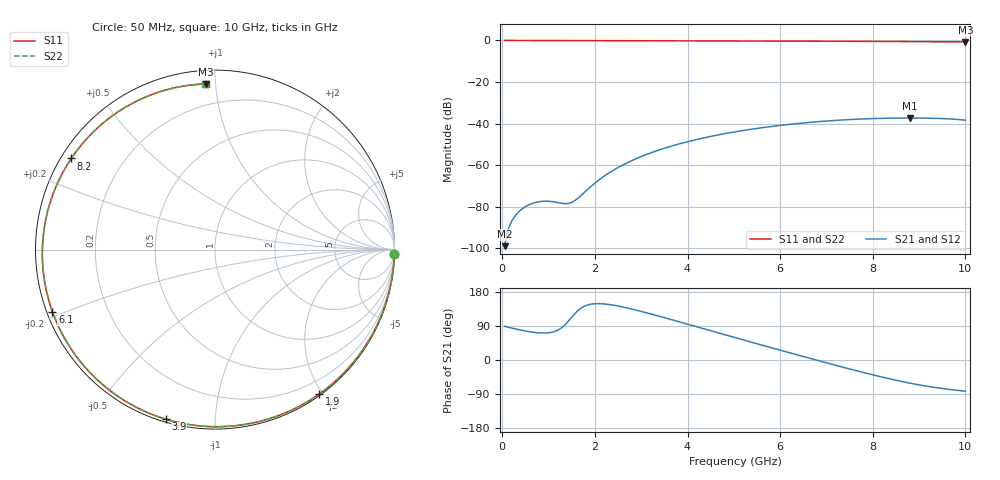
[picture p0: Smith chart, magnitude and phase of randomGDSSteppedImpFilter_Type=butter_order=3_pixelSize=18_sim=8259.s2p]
! freq	dB(S11)	phase(S11)	dB(S12)	phase(S12)
!  dB(S21)	phase(S21)	dB(S22)	phase(S22)
!S-par simulation data
#  GHz  S  DB  R 50
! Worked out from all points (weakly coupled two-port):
!   200 points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, 50 MHz to 10 GHz, reference 50 ohm
!   highest |S21| = -37.31 dB at 8.8 GHz (marker M1); lowest = -99.0 dB at 50 MHz (marker M2)
!   lowest |S11| = -0.7 dB at 10 GHz (marker M3), VSWR 25.45, Z = 3.72 + j47.2 ohm
!   |S11| at or under -10 dB: nowhere
!   |S22| runs from -0.7 to 0.0 dB; largest |S21 - S12| = 0
!   S11 on the Smith chart (normalised r, x): 50 MHz: 0, -77; 1.9 GHz: 0.02, -1.95; 3.9 GHz: 0.01, -0.75; 6.1 GHz: 0.02, -0.18; 8.2 GHz: 0.03, +0.29; 10 GHz: 0.07, +0.94
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0.05  -0.00 -1.5  -98.97 88.9  -98.97 88.9  -0.00 -1.5
0.5  -0.02 -14.6  -79.95 76.5  -79.95 76.5  -0.02 -14.6
0.7  -0.03 -20.4  -78.05 72.6  -78.05 72.6  -0.03 -20.4
0.9  -0.03 -26.2  -77.35 71.1  -77.35 71.1  -0.03 -26.1
1.45  -0.05 -41.8  -78.30 105.9  -78.30 105.9  -0.05 -41.7
1.6  -0.06 -46.0  -76.51 126.7  -76.51 126.7  -0.06 -45.9
1.75  -0.06 -50.1  -73.57 140.5  -73.57 140.5  -0.06 -50.1
1.9  -0.07 -54.3  -70.51 146.9  -70.51 146.9  -0.07 -54.2
2.2  -0.08 -62.4  -65.26 148.0  -65.26 148.0  -0.08 -62.4
2.55  -0.09 -71.8  -60.52 141.2  -60.52 141.2  -0.09 -71.7
3.4  -0.12 -93.8  -52.58 115.1  -52.58 115.1  -0.12 -93.7
3.9  -0.14 -106.2  -49.28 98.0  -49.28 98.0  -0.14 -106.1
4.45  -0.17 -119.6  -46.39 78.9  -46.39 78.9  -0.17 -119.6
5.05  -0.20 -134.0  -43.88 58.2  -43.88 58.2  -0.20 -133.9
6.1  -0.27 -159.1  -40.62 22.6  -40.62 22.6  -0.27 -159.0
6.7  -0.32 -173.6  -39.28 2.5  -39.28 2.5  -0.32 -173.5
7.45  -0.38 167.5  -38.11 -22.1  -38.11 -22.1  -0.38 167.7
8.2  -0.46 147.6  -37.47 -45.0  -37.47 -45.0  -0.46 147.8
8.35  -0.48 143.5  -37.40 -49.3  -37.40 -49.3  -0.48 143.7
8.8  -0.53 130.6  -37.31 -61.0  -37.31 -61.0  -0.53 130.8
9.45  -0.61 110.9  -37.54 -74.4  -37.54 -74.4  -0.61 111.1
10  -0.68 93.1  -38.33 -82.4  -38.33 -82.4  -0.68 93.4
